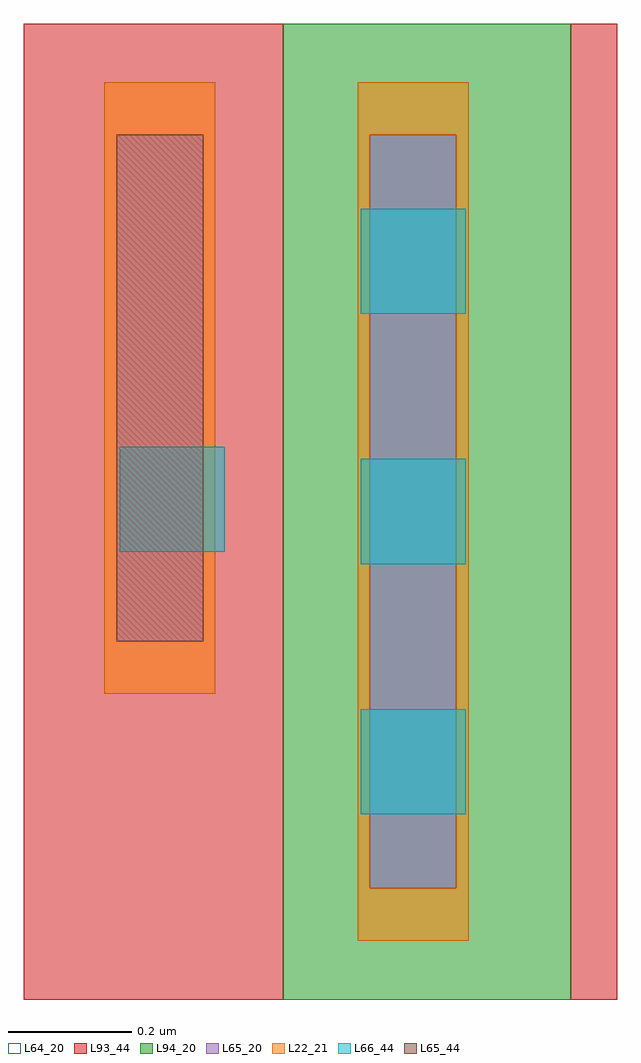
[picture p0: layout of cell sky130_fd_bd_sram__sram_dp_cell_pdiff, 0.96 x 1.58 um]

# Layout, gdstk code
import gdstk
lib = gdstk.Library(unit=1e-6, precision=1e-09)
def R(c, l, rs):  # rectangles x0, y0, x1, y1
    for r in rs: c.add(gdstk.rectangle(r[:2], r[2:], *l))
L22_21 = (22, 21)
L64_20 = (64, 20)
L65_20 = (65, 20)
L65_44 = (65, 44)
L66_44 = (66, 44)
L93_44 = (93, 44)
L94_20 = (94, 20)

sky130_fd_bd_sram__sram_ = lib.new_cell('sky130_fd_bd_sram__sram_dp_cell_fom_ext_1')
R(sky130_fd_bd_sram__sram_, L22_21, [(-0.02,0,0.16,0.085)])

c_sky130_fd_bd_sram__sram_ = lib.new_cell('sky130_fd_bd_sram__sram_dp_licon_05')
R(c_sky130_fd_bd_sram__sram_, L66_44, [(-0.085,0,0.085,0.085)])

c_sky130_fd_bd_sram__sram__ = lib.new_cell('sky130_fd_bd_sram__sram_dp_licon_1')
c_sky130_fd_bd_sram__sram__.add(gdstk.Reference(c_sky130_fd_bd_sram__sram_, (0,0)))
c_sky130_fd_bd_sram__sram__.add(gdstk.Reference(c_sky130_fd_bd_sram__sram_, (0,0), x_reflection=True))

c_sky130_fd_bd_sram__sram___ = lib.new_cell('sky130_fd_bd_sram__sram_dp_cell_pdiff')
R(c_sky130_fd_bd_sram__sram___, L22_21, [(1.26,0.18,1.28,1.4), (1.42,0.18,1.44,1.4), (0.85,0.58,0.87,1.4), (1.01,0.58,1.03,1.4)])
R(c_sky130_fd_bd_sram__sram___, L64_20, [(0.72,0,1.68,1.58)])
R(c_sky130_fd_bd_sram__sram___, L65_20, [(1.28,0.18,1.42,1.4)])
R(c_sky130_fd_bd_sram__sram___, L65_44, [(0.87,0.58,1.01,1.4)])
R(c_sky130_fd_bd_sram__sram___, L93_44, [(0.72,0,1.14,1.58), (1.605,0,1.68,1.58)])
R(c_sky130_fd_bd_sram__sram___, L94_20, [(1.14,0,1.605,1.58)])
c_sky130_fd_bd_sram__sram___.add(gdstk.Reference(sky130_fd_bd_sram__sram_, (1.28,1.4)))
c_sky130_fd_bd_sram__sram___.add(gdstk.Reference(sky130_fd_bd_sram__sram_, (0.87,1.4)))
c_sky130_fd_bd_sram__sram___.add(gdstk.Reference(sky130_fd_bd_sram__sram_, (1.28,0.18), x_reflection=True))
c_sky130_fd_bd_sram__sram___.add(gdstk.Reference(sky130_fd_bd_sram__sram_, (0.87,0.58), x_reflection=True))
c_sky130_fd_bd_sram__sram___.add(gdstk.Reference(c_sky130_fd_bd_sram__sram__, (1.35,0.79)))
c_sky130_fd_bd_sram__sram___.add(gdstk.Reference(c_sky130_fd_bd_sram__sram__, (0.96,0.81)))
c_sky130_fd_bd_sram__sram___.add(gdstk.Reference(c_sky130_fd_bd_sram__sram__, (1.35,1.195)))
c_sky130_fd_bd_sram__sram___.add(gdstk.Reference(c_sky130_fd_bd_sram__sram__, (1.35,0.385)))

lib.write_gds('sky130_fd_bd_sram__sram_dp_cell_pdiff.gds')
